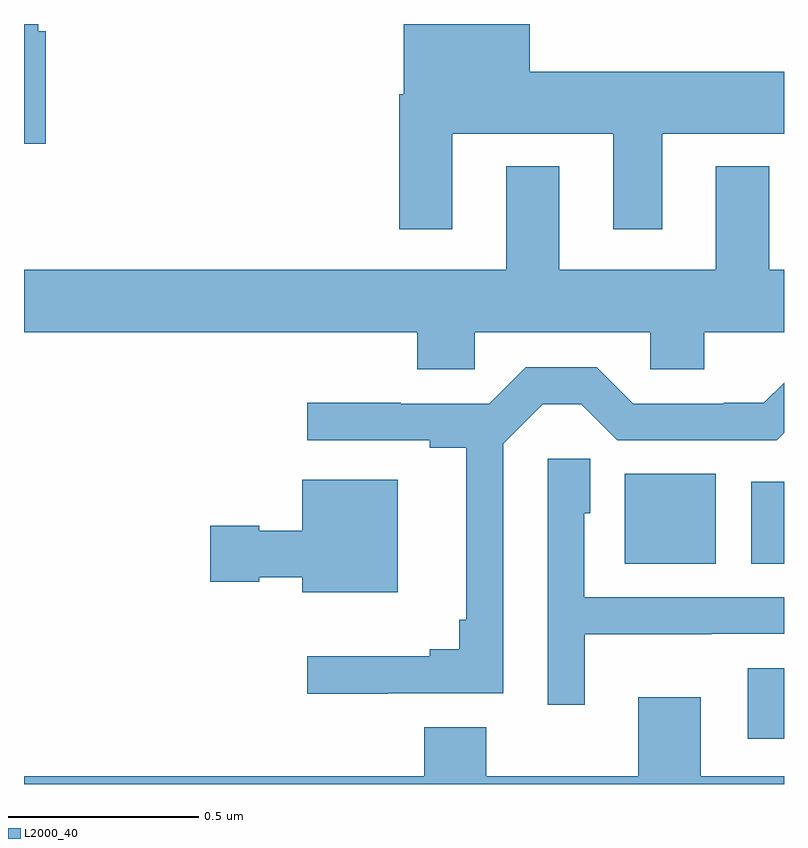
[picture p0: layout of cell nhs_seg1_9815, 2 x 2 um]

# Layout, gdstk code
import gdstk
lib = gdstk.Library(unit=1e-6, precision=1e-09)
def R(c, l, rs):  # rectangles x0, y0, x1, y1
    for r in rs: c.add(gdstk.rectangle(r[:2], r[2:], *l))
def P(c, l, *ps):  # polygons
    for p in ps: c.add(gdstk.Polygon(p, *l))
L2000_40 = (2000, 40)

nhs_seg1_9815 = lib.new_cell('nhs_seg1_9815')
R(nhs_seg1_9815, L2000_40, [(234.905,561.318,235,561.504), (234.581,561.779,234.82,562.015), (234.914,561.779,235,561.994)])
P(nhs_seg1_9815, L2000_40, [(234.127,562.91),(234.551,562.91),(234.551,562.659),(234.679,562.659),(234.679,562.91),(235,562.91),(235,563.074),(234.331,563.074),(234.331,563.199),(233.999,563.199),(233.999,563.014),(233.987,563.014),(233.987,562.659),(234.127,562.659)],
  [(233.057,563.18),(233.037,563.18),(233.037,563.199),(233,563.199),(233,562.884),(233.057,562.884)],
  [(234.186,562.388),(234.648,562.388),(234.648,562.29),(234.79,562.29),(234.79,562.388),(235,562.388),(235,562.552),(234.961,562.552),(234.961,562.825),(234.821,562.825),(234.821,562.552),(234.409,562.552),(234.409,562.825),(234.269,562.825),(234.269,562.552),(233,562.552),(233,562.388),(234.035,562.388),(234.035,562.29),(234.186,562.29)],
  [(233.957,561.438),(234.261,561.438),(234.261,562.095),(234.365,562.199),(234.466,562.199),(234.561,562.104),(234.981,562.104),(235,562.123),(235,562.255),(234.947,562.202),(234.842,562.202),(234.842,562.2),(234.603,562.2),(234.507,562.296),(234.32,562.296),(234.224,562.2),(233.991,562.2),(233.991,562.202),(233.745,562.202),(233.745,562.104),(234.068,562.104),(234.068,562.084),(234.164,562.084),(234.164,561.631),(234.145,561.631),(234.145,561.554),(234.068,561.554),(234.068,561.535),(233.745,561.535),(233.745,561.437),(233.957,561.437)],
  [(234.475,561.593),(234.809,561.593),(234.809,561.594),(235,561.594),(235,561.69),(234.474,561.69),(234.474,561.912),(234.49,561.912),(234.49,562.055),(234.378,562.055),(234.378,561.408),(234.475,561.408)],
  [(233.983,562),(233.732,562),(233.732,561.865),(233.619,561.865),(233.619,561.878),(233.49,561.878),(233.49,561.731),(233.619,561.731),(233.619,561.743),(233.732,561.743),(233.732,561.704),(233.983,561.704)],
  [(235,561.22),(234.781,561.22),(234.781,561.427),(234.617,561.427),(234.617,561.22),(234.217,561.22),(234.217,561.349),(234.053,561.349),(234.053,561.22),(233,561.22),(233,561.199),(235,561.199)])

lib.write_gds('nhs_seg1_9815.gds')
